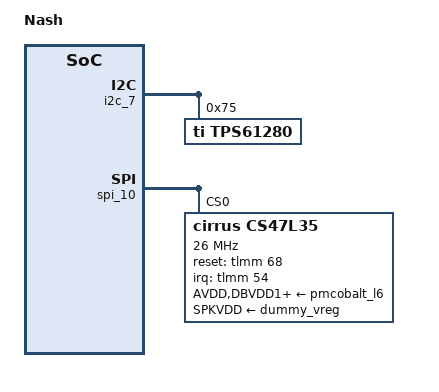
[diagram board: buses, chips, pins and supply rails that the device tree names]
/* Copyright (c) 2016, Motorola Mobility Inc. All rights reserved.
 *
 * This program is free software; you can redistribute it and/or modify
 * it under the terms of the GNU General Public License version 2 and
 * only version 2 as published by the Free Software Foundation.
 *
 * This program is distributed in the hope that it will be useful,
 * but WITHOUT ANY WARRANTY; without even the implied warranty of
 * MERCHANTABILITY or FITNESS FOR A PARTICULAR PURPOSE.  See the
 * GNU General Public License for more details.
 */

#include "msmcobalt-moto-common.dtsi"

/ {
	model = "Nash";
	compatible = "qcom,msmcobalt-nash", "qcom,msmcobalt-moto",
			"qcom,msmcobalt";
};

&i2c_7 {
	tps61280@75 {
		compatible = "ti,tps61280";
		reg = <0x75>;
		ti,config = <0x0D>;
		ti,vout-floor = <0x0D>;
		ti,vout-roof = <0x19>;
		ti,ilim = <0x0F>;
	};
};

&spi_10 { /* BLSP2 QUP4 */
	status = "ok";
	cs47l35: cs47l35@0 {
		compatible = "cirrus,cs47l35";
		spi-max-frequency = <26000000>;
		reg = <0x0>;
		interrupt-parent = <&tlmm>;
		interrupts = <54 0>;
		interrupt-controller;
		#interrupt-cells = <2>;
		reset-gpios = <&tlmm 68 0>;
		cirrus,micbias1 = <1800 1 1 1 1 1 1 0>;
		cirrus,micbias2 = <2600 1 1 1 1 1 1 0>;
		cirrus,micbias3 = <2600 1 1 1 1 1 1 0>;
		cirrus,micbias4 = <2600 1 1 1 1 1 1 0>;
		pinctrl-names = "default";
		pinctrl-0 = <&marley_irq_default &marley_reset_default>;

		AVDD-supply = <&pmcobalt_l6>;
		DBVDD1-supply = <&pmcobalt_l6>;
		DBVDD2-supply = <&pmcobalt_l6>;
		CPVDD-supply = <&pmcobalt_l6>;
		CPVDD1-supply = <&pmcobalt_l6>;
		CPVDD2-supply = <&pmcobalt_l6>;
		DCVDD-supply = <&pmcobalt_l6>;
		SPKVDD-supply = <&dummy_vreg>;

		gpio-controller;
		#gpio-cells = <2>;

		cirrus,gpio-defaults = <
			0x00002000 0x0000f000 /* AIF3TXDAT / GPIO1  */
			0x00002000 0x0000f000 /* AIF3BCLK  / GPIO2  */
			0x00000040 0x00000000 /* AIF3RXDAT / GPIO3  */
			0x00002000 0x0000f000 /* AIF3LRCLK / GPIO4  */
			0xffffffff 0xffffffff /* GPIO5 */
			0xffffffff 0xffffffff /* GPIO6 */
			0x00002000 0x0000f000 /* MIF1SDA   / GPIO7  */
			0x00002000 0x0000f000 /* AIF1RXDAT / GPIO8  */
			0x00002000 0x0000f000 /* AIF1BCLK  / GPIO9  */
			0x00002000 0x0000f000 /* AIF1TXDAT / GPIO10 */
			0x00002000 0x0000f000 /* AIF1LRCLK / GPIO11 */
			0x00002000 0x0000f000 /* AIF2TXDAT / GPIO12 */
			0x00002000 0x0000f000 /* AIF2BCLK  / GPIO13 */
			0xffffffff 0xffffffff /* AIF2RXDAT / GPIO14 */
			0xffffffff 0xffffffff /* AIF2LRCLK / GPIO15 */
			0x00002000 0x0000f000 /* MIF1SCLK  / GPIO16 */
			>;

		adsps {
			#address-cells = <1>;
			#size-cells = <0>;
			adsp@0ffe00 {
				reg = <0x0ffe00>;
				firmware {
					ultrasound {
						wlf,wmfw-file = "ultrasound";
						wlf,bin-file = "ultrasound";
						wlf,compr-caps = <1 1 4 1 96000>;
					};
				};
			};
			adsp@17fe00 {
				reg = <0x17fe00>;
				firmware {
					frontend {
						wlf,wmfw-file = "aov-frontend";
						wlf,bin-file = "aov-vrgain";
						wlf,compr-caps = <1 1 4 1 16000>;
					};
				};
			};
			adsp@1ffe00 {
				reg = <0x1ffe00>;
				firmware {
					aov {
						wlf,wmfw-file = "aov-control";
						wlf,bin-file = "aov-model";
						wlf,compr-caps = <1 1 4 1 16000>;
					};
				};
			};
		};
		cirrus,accdet {
			#address-cells = <1>;
			#size-cells = <0>;

			acc@1 {
				reg = <1>;

				cirrus,micd-configs = <
					0 0 3 0 0
					1 0 3 1 0
				>;
				cirrus,micd-bias-start-time = <8>;
				cirrus,micd-pol-gpios = <&cs47l35 14 0>;
				cirrus,micd-rate = <6>;
				cirrus,micd-detect-debounce-ms = <500>;
			};
		};
	};
};

&soc {
	alsa_to_h2w {
	status = "disabled";
	};
};
